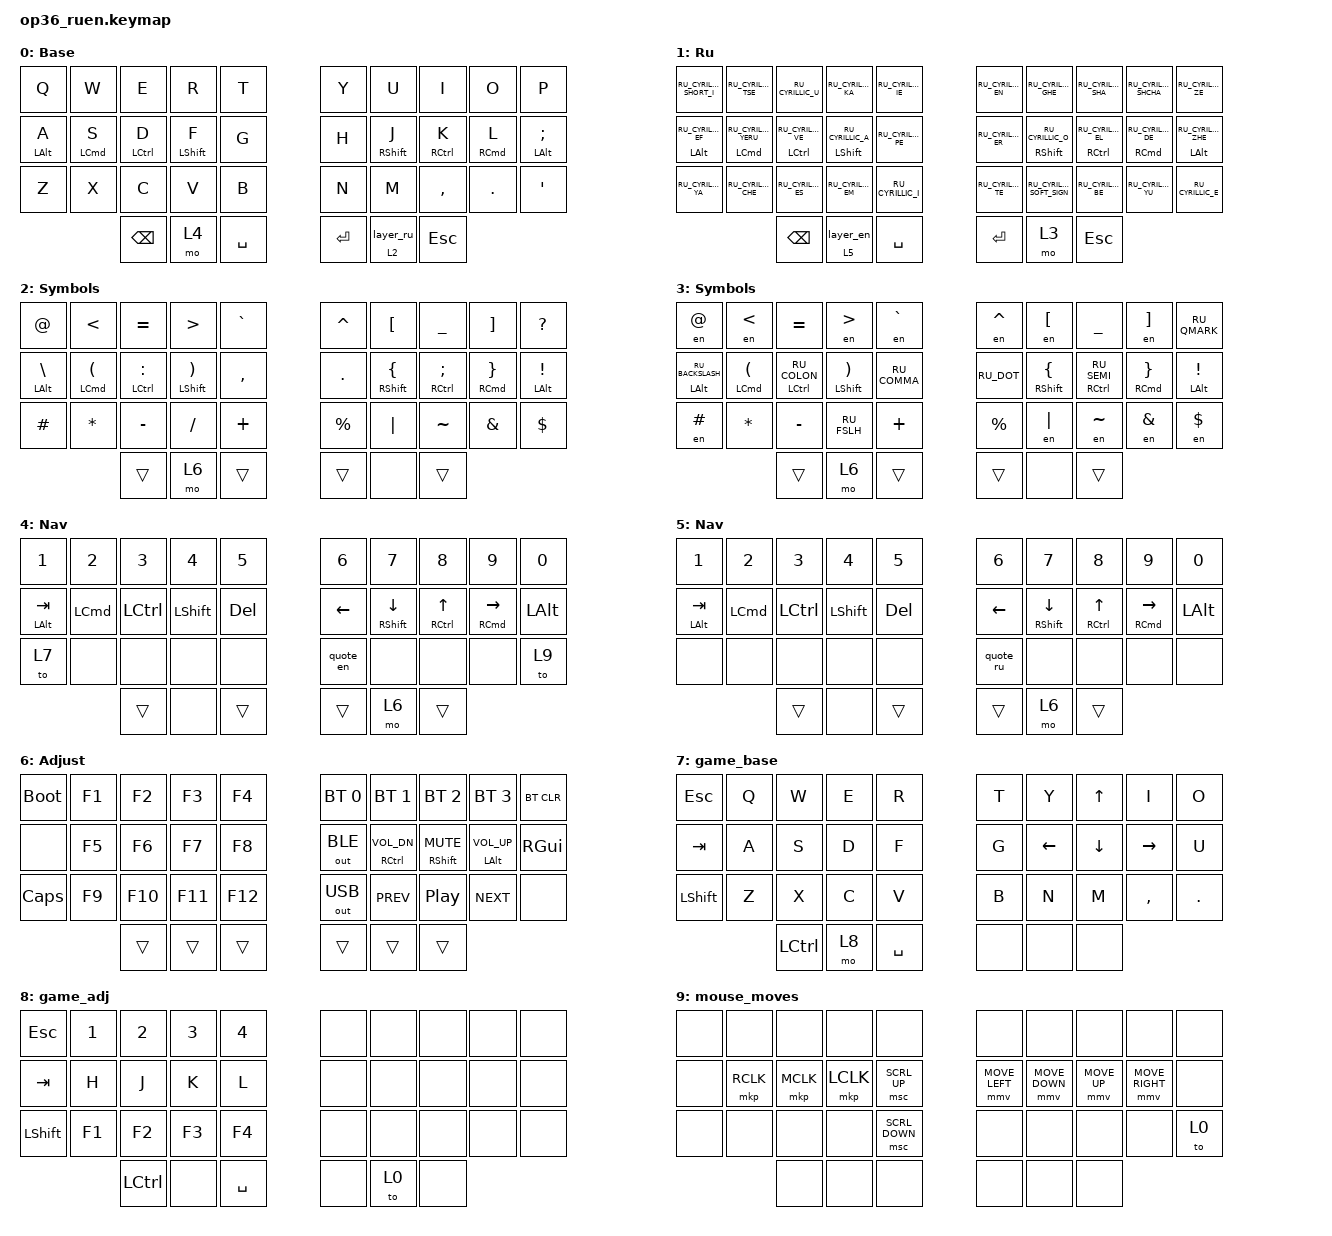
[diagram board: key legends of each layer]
#include "keys_ru.h"
#include "keys_ru.h"
#include <behaviors.dtsi>
#include <dt-bindings/zmk/bt.h>
#include <dt-bindings/zmk/keys.h>
#include <dt-bindings/zmk/outputs.h>
#include <dt-bindings/zmk/pointing.h>

&mt {
    quick-tap-ms = <200>;
    flavor = "tap-preferred";
    require-prior-idle-ms = <125>;
};

/ {
    behaviors {
        hml: home_row_mod_left {
            compatible = "zmk,behavior-hold-tap";
            #binding-cells = <2>;
            flavor = "balanced";
            require-prior-idle-ms = <150>;
            tapping-term-ms = <280>;
            quick-tap-ms = <175>;
            bindings = <&kp>, <&kp>;

            hold-trigger-key-positions = <5 6 7 8 9 15 16 17 18 19 25 26 27 28 29 33 34 35>;
            hold-trigger-on-release;
        };

        hmr: home_row_mod_right {
            compatible = "zmk,behavior-hold-tap";
            #binding-cells = <2>;
            flavor = "balanced";
            require-prior-idle-ms = <150>;
            tapping-term-ms = <280>;
            quick-tap-ms = <175>;
            bindings = <&kp>, <&kp>;

            hold-trigger-key-positions = <0 1 2 3 4 10 11 12 13 14 20 21 22 23 24 30 31 32>;
            hold-trigger-on-release;
        };

        ltm_ru: ltm_ru {
            compatible = "zmk,behavior-hold-tap";
            label = "LTM_RU";
            bindings = <&mo>, <&layer_ru>;

            #binding-cells = <2>;
            flavor = "balanced";
            tapping-term-ms = <220>;
        };

        ltm_en: ltm_en {
            compatible = "zmk,behavior-hold-tap";
            label = "LTM_EN";
            bindings = <&mo>, <&layer_en>;

            #binding-cells = <2>;
            flavor = "balanced";
            tapping-term-ms = <220>;
        };

        quote_en: quote_en {
            compatible = "zmk,behavior-tap-dance";
            label = "QUOTE_EN";
            #binding-cells = <0>;
            bindings = <&kp SINGLE_QUOTE>, <&kp DOUBLE_QUOTES>;
        };

        quote_ru: quote_ru {
            compatible = "zmk,behavior-tap-dance";
            label = "QUOTE_RU";
            #binding-cells = <0>;
            bindings = <&en SINGLE_QUOTE>, <&kp RU_DQT>;
        };

        hmr_with_en_macro: hmr_with_en_macro {
            compatible = "zmk,behavior-hold-tap";
            #binding-cells = <2>;
            flavor = "balanced";
            require-prior-idle-ms = <150>;
            tapping-term-ms = <280>;
            quick-tap-ms = <175>;
            bindings = <&kp>, <&en>;

            hold-trigger-key-positions = <0 1 2 3 4 10 11 12 13 14 20 21 22 23 24 30 31 32>;
            hold-trigger-on-release;
            label = "HMR_WITH_EN_MACRO";
        };
    };

    combos {
        compatible = "zmk,combos";

        ws_move_left {
            bindings = <&kp LC(LEFT_ARROW)>;
            key-positions = <2 1>;
            layers = <0 1>;
            require-prior-idle-ms = <150>;
        };

        ws_move_right {
            bindings = <&kp LC(RIGHT_ARROW)>;
            key-positions = <7 8>;
            layers = <0 1>;
            require-prior-idle-ms = <150>;
        };

        caps_word {
            bindings = <&caps_word>;
            key-positions = <20 29>;
            layers = <0 1>;
        };
    };

    macros {
        to_ru: to_ru {
            compatible = "zmk,behavior-macro";
            #binding-cells = <0>;
            bindings = <&kp LS(LC(N2))>;
            label = "TO_RU";
            wait-ms = <0>;
            tap-ms = <30>;
        };

        to_en: to_en {
            compatible = "zmk,behavior-macro";
            #binding-cells = <0>;
            bindings = <&kp LS(LC(N1))>;
            label = "TO_EN";
            wait-ms = <0>;
            tap-ms = <30>;
        };

        layer_en: layer_en {
            compatible = "zmk,behavior-macro";
            #binding-cells = <0>;
            bindings = <&to 0 &to_en>;
            label = "LAYER_EN";
            wait-ms = <0>;
            tap-ms = <30>;
        };

        layer_ru: layer_ru {
            compatible = "zmk,behavior-macro";
            #binding-cells = <0>;
            bindings = <&to 1 &to_ru>;
            label = "LAYER_RU";
            tap-ms = <30>;
            wait-ms = <0>;
        };

        en: en {
            compatible = "zmk,behavior-macro-one-param";
            #binding-cells = <1>;
            bindings =
                <&to_en>,
                <&macro_press>,
                <&macro_param_1to1 &kp MACRO_PLACEHOLDER>,
                <&macro_pause_for_release>,
                <&macro_release>,
                <&macro_param_1to1 &kp MACRO_PLACEHOLDER>,
                <&macro_tap>,
                <&to_ru>;

            label = "EN";
            wait-ms = <0>;
            tap-ms = <30>;
        };
    };

    keymap {
        compatible = "zmk,keymap";

        en {
            bindings = <
  &kp Q        &kp W        &kp E         &kp R          &kp T                          &kp Y        &kp U         &kp I         &kp O        &kp P
  &hml LALT A  &hml LCMD S  &hml LCTRL D  &hml LSHFT F   &kp G                          &kp H        &hmr RSHFT J  &hmr RCTRL K  &hmr RCMD L  &hmr LALT SEMICOLON
  &kp Z        &kp X        &kp C         &kp V          &kp B                          &kp N        &kp M         &kp COMMA     &kp DOT      &kp SQT
                                          &kp BACKSPACE  &mo 4  &kp SPACE    &kp ENTER  &ltm_ru 2 0  &kp ESC
            >;

            display-name = "Base";
        };

        ru {
            bindings = <
  &kp RU_CYRILLIC_SHORT_I   &kp RU_CYRILLIC_TSE         &kp RU_CYRILLIC_U          &kp RU_CYRILLIC_KA        &kp RU_CYRILLIC_IE                          &kp RU_CYRILLIC_EN  &kp RU_CYRILLIC_GHE        &kp RU_CYRILLIC_SHA        &kp RU_CYRILLIC_SHCHA     &kp RU_CYRILLIC_ZE
  &hml LALT RU_CYRILLIC_EF  &hml LCMD RU_CYRILLIC_YERU  &hml LCTRL RU_CYRILLIC_VE  &hml LSHFT RU_CYRILLIC_A  &kp RU_CYRILLIC_PE                          &kp RU_CYRILLIC_ER  &hmr RSHFT RU_CYRILLIC_O   &hmr RCTRL RU_CYRILLIC_EL  &hmr RCMD RU_CYRILLIC_DE  &hmr LALT RU_CYRILLIC_ZHE
  &kp RU_CYRILLIC_YA        &kp RU_CYRILLIC_CHE         &kp RU_CYRILLIC_ES         &kp RU_CYRILLIC_EM        &kp RU_CYRILLIC_I                           &kp RU_CYRILLIC_TE  &kp RU_CYRILLIC_SOFT_SIGN  &kp RU_CYRILLIC_BE         &kp RU_CYRILLIC_YU        &kp RU_CYRILLIC_E
                                                                                   &kp BACKSPACE             &ltm_en 5 0         &kp SPACE    &kp ENTER  &mo 3               &kp ESC
            >;

            display-name = "Ru";
        };

        sym_en {
            bindings = <
  &kp AT          &kp LT          &kp EQUAL         &kp GT            &kp GRAVE                    &kp CARET  &kp LBKT         &kp UNDER        &kp RBKT        &kp QMARK
  &hml LALT BSLH  &hml LCMD LPAR  &hml LCTRL COLON  &hml LSHIFT RPAR  &kp COMMA                    &kp DOT    &hmr RSHFT LBRC  &hmr RCTRL SEMI  &hmr RCMD RBRC  &hmr LALT EXCL
  &kp HASH        &kp STAR        &kp MINUS         &kp FSLH          &kp PLUS                     &kp PRCNT  &kp PIPE         &kp TILDE        &kp AMPERSAND   &kp DOLLAR
                                                    &trans            &mo 6      &trans    &trans  &none      &trans
            >;

            display-name = "Symbols";
        };

        sym_ru {
            bindings = <
  &en AT                  &en LT          &kp EQUAL            &en GT            &en GRAVE                       &en CARET   &en LBKT                       &kp UNDER           &en RBKT                      &kp RU_QMARK
  &hml LALT RU_BACKSLASH  &hml LCMD LPAR  &hml LCTRL RU_COLON  &hml LSHIFT RPAR  &kp RU_COMMA                    &kp RU_DOT  &hmr_with_en_macro RSHFT LBRC  &hmr RCTRL RU_SEMI  &hmr_with_en_macro RCMD RBRC  &hmr LALT EXCL
  &en HASH                &kp STAR        &kp MINUS            &kp RU_FSLH       &kp PLUS                        &kp PRCNT   &en PIPE                       &en TILDE           &en AMPERSAND                 &en DOLLAR
                                                               &trans            &mo 6         &trans    &trans  &none       &trans
            >;

            display-name = "Symbols";
        };

        nav_en {
            bindings = <
  &kp N1         &kp N2    &kp N3     &kp N4     &kp N5                        &kp N6          &kp N7                  &kp N8               &kp N9                 &kp N0
  &hml LALT TAB  &kp LCMD  &kp LCTRL  &kp LSHFT  &kp DELETE                    &kp LEFT_ARROW  &hmr RSHIFT DOWN_ARROW  &hmr RCTRL UP_ARROW  &hmr RCMD RIGHT_ARROW  &kp LALT
  &to 7          &none     &none      &none      &none                         &quote_en       &none                   &none                &none                  &to 9
                                      &trans     &none       &trans    &trans  &mo 6           &trans
            >;

            display-name = "Nav";
        };

        nav_ru {
            display-name = "Nav";
            bindings = <
  &kp N1         &kp N2    &kp N3     &kp N4     &kp N5                        &kp N6          &kp N7                  &kp N8               &kp N9                 &kp N0
  &hml LALT TAB  &kp LCMD  &kp LCTRL  &kp LSHFT  &kp DELETE                    &kp LEFT_ARROW  &hmr RSHIFT DOWN_ARROW  &hmr RCTRL UP_ARROW  &hmr RCMD RIGHT_ARROW  &kp LALT
  &none          &none     &none      &none      &none                         &quote_ru       &none                   &none                &none                  &none
                                      &trans     &none       &trans    &trans  &mo 6           &trans
            >;
        };

        adj {
            bindings = <
  &bootloader   &kp F1  &kp F2   &kp F3   &kp F4                     &bt BT_SEL 0  &bt BT_SEL 1         &bt BT_SEL 2       &bt BT_SEL 3        &bt BT_CLR
  &none         &kp F5  &kp F6   &kp F7   &kp F8                     &out OUT_BLE  &hmr RCTRL C_VOL_DN  &hmr RSHFT C_MUTE  &hmr LALT C_VOL_UP  &kp RGUI
  &kp CAPSLOCK  &kp F9  &kp F10  &kp F11  &kp F12                    &out OUT_USB  &kp C_PREV           &kp C_PP           &kp C_NEXT          &none
                                 &trans   &trans   &trans    &trans  &trans        &trans
            >;

            display-name = "Adjust";
        };

        game_base {
            bindings = <
  &kp ESC    &kp Q  &kp W  &kp E      &kp R                      &kp T  &kp Y           &kp UP_ARROW    &kp I            &kp O
  &kp TAB    &kp A  &kp S  &kp D      &kp F                      &kp G  &kp LEFT_ARROW  &kp DOWN_ARROW  &kp RIGHT_ARROW  &kp U
  &kp LSHFT  &kp Z  &kp X  &kp C      &kp V                      &kp B  &kp N           &kp M           &kp COMMA        &kp DOT
                           &kp LCTRL  &mo 8  &kp SPACE    &none  &none  &none
            >;
        };

        game_adj {
            bindings = <
  &kp ESC    &kp N1  &kp N2  &kp N3     &kp N4                      &none  &none  &none  &none  &none
  &kp TAB    &kp H   &kp J   &kp K      &kp L                       &none  &none  &none  &none  &none
  &kp LSHFT  &kp F1  &kp F2  &kp F3     &kp F4                      &none  &none  &none  &none  &none
                             &kp LCTRL  &none   &kp SPACE    &none  &to 0  &none
            >;
        };

        mouse_moves {
            bindings = <
  &none  &none      &none      &none      &none                           &none           &none           &none         &none            &none
  &none  &mkp RCLK  &mkp MCLK  &mkp LCLK  &msc SCRL_UP                    &mmv MOVE_LEFT  &mmv MOVE_DOWN  &mmv MOVE_UP  &mmv MOVE_RIGHT  &none
  &none  &none      &none      &none      &msc SCRL_DOWN                  &none           &none           &none         &none            &to 0
                               &none      &none           &none    &none  &none           &none
            >;
        };
    };
};
